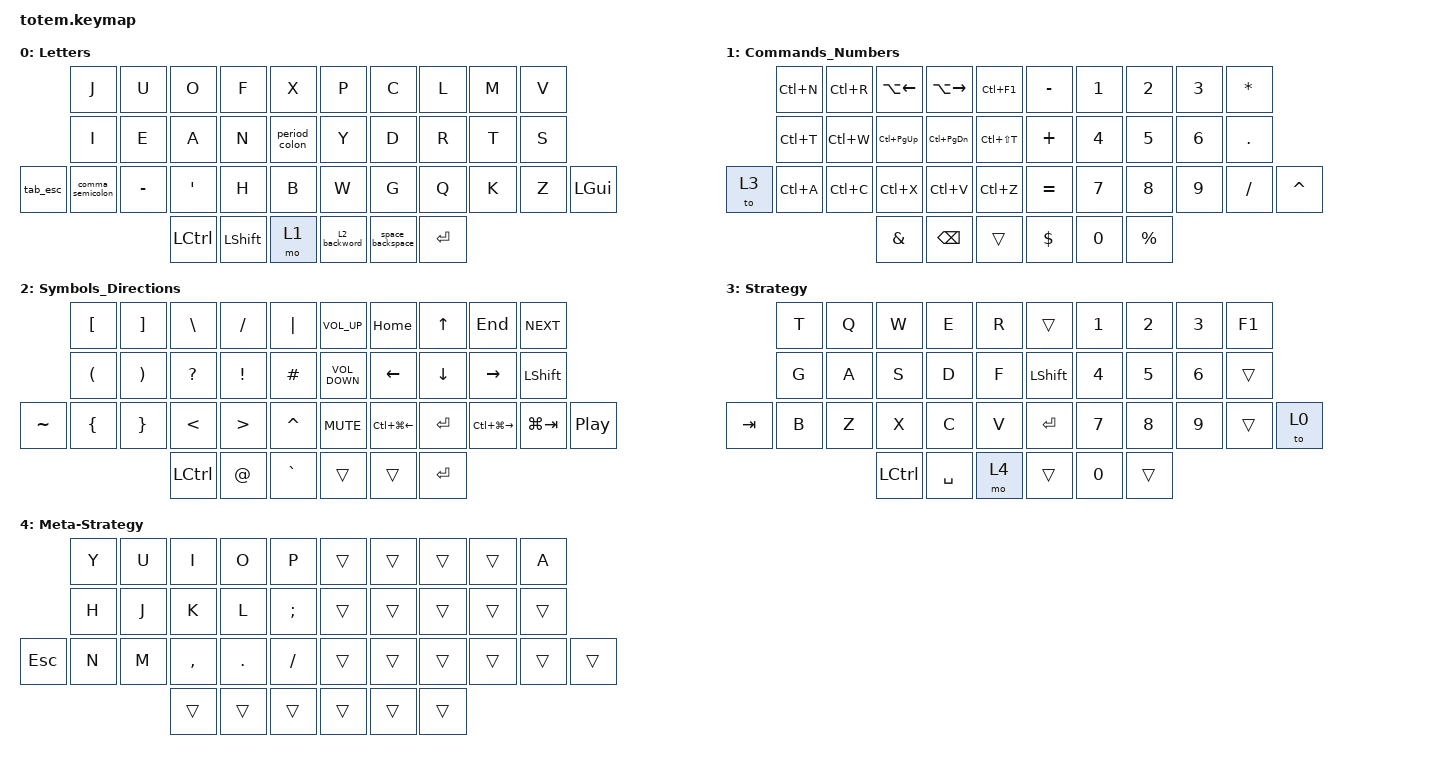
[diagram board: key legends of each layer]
//
//                                                        ▀▀▀▀▀     ▀▀▀▀▀          ▀▀█▀▀
//                                                        ▄▀▀▀▄  ▄  ▄▀▀▀▄  ▄  ▄▀▀▀▄  █  ▄▀▀▀▄
//                                                        █   █  █  █   █  █  █   █  █  █   █
//                                                         ▀▀▀   █   ▀▀▀   █   ▀▀▀   ▀   ▀▀▀
//                                                               █      ▄▄▄█▄▄▄    █   █  
//                                                               ▀      █  █  █     █▄█
//                                                             ▀▀▀▀▀    █  █  █      ▀
//                                                                      ▀  ▀  ▀
//
// ▄▄▄▄▄▄▄▄▄▄▄▄▄▄▄▄▄▄▄▄▄▄▄▄▄▄▄▄▄▄▄▄▄▄▄▄▄▄▄▄▄▄▄▄▄▄▄▄▄▄▄▄▄▄▄▄▄▄▄▄▄▄▄▄▄▄▄▄▄▄▄▄▄▄▄▄▄▄▄▄▄▄▄▄▄▄▄▄▄▄▄▄▄▄▄▄▄▄▄▄▄▄▄▄▄▄▄▄▄▄▄▄▄▄▄▄▄▄▄▄▄▄▄▄▄▄▄▄▄▄▄▄▄▄▄▄▄▄▄▄▄▄▄▄▄▄▄▄▄

#include <behaviors.dtsi>
#include <dt-bindings/zmk/keys.h>

#define Base        0
#define Nav         1
#define Sym         2
#define Fun         3
#define Game        4
#define Gameplus    5

/ {
    combos { compatible = "zmk,combos"; };

    behaviors {
        period_colon: period_colon {
            compatible = "zmk,behavior-mod-morph";
            label = "PERIOD_COLON";
            #binding-cells = <0>;
            bindings = <&kp PERIOD>, <&kp COLON>;

            mods = <(MOD_LSFT|MOD_RSFT)>;
        };

        tab_esc: tab_esc {
            compatible = "zmk,behavior-mod-morph";
            label = "TAB_ESC";
            bindings = <&kp TAB>, <&kp ESCAPE>;

            #binding-cells = <0>;
            mods = <(MOD_LSFT|MOD_RSFT)>;
        };

        space_backspace: space_backspace {
            compatible = "zmk,behavior-mod-morph";
            label = "SPACE_BACKSPACE";
            bindings = <&kp SPACE>, <&kp BACKSPACE>;

            #binding-cells = <0>;
            mods = <(MOD_LSFT|MOD_RSFT)>;
        };

        comma_semicolon: comma_semicolon {
            compatible = "zmk,behavior-mod-morph";
            label = "COMMA_SEMICOLON";
            bindings = <&kp COMMA>, <&kp SEMICOLON>;

            #binding-cells = <0>;
            mods = <(MOD_LSFT|MOD_RSFT)>;
        };

        L2_backword: L2_backword {
            compatible = "zmk,behavior-mod-morph";
            label = "L2_BACKWORD";
            bindings = <&mo 2>, <&kp LC(BACKSPACE)>;

            #binding-cells = <0>;
            mods = <(MOD_LSFT|MOD_RSFT)>;
        };
    };

    keymap {
        compatible = "zmk,keymap";

        Letters {
            bindings = <
          &kp J             &kp U      &kp O      &kp F           &kp X            &kp P         &kp C             &kp L    &kp M  &kp V
          &kp I             &kp E      &kp A      &kp N           &period_colon    &kp Y         &kp D             &kp R    &kp T  &kp S
&tab_esc  &comma_semicolon  &kp MINUS  &kp SQT    &kp H           &kp B            &kp W         &kp G             &kp Q    &kp K  &kp Z  &kp LGUI
                                       &kp LCTRL  &kp LEFT_SHIFT  &mo 1            &L2_backword  &space_backspace  &kp RET
            >;
        };

        Commands_Numbers {
            bindings = <
       &kp LC(N)  &kp LC(R)  &kp LA(LEFT)   &kp LA(RIGHT)  &kp LC(F1)       &kp MINUS   &kp N1        &kp N2       &kp N3  &kp ASTERISK
       &kp LC(T)  &kp LC(W)  &kp LC(PG_UP)  &kp LC(PG_DN)  &kp LC(LS(T))    &kp PLUS    &kp N4        &kp N5       &kp N6  &kp DOT
&to 3  &kp LC(A)  &kp LC(C)  &kp LC(X)      &kp LC(V)      &kp LC(Z)        &kp EQUAL   &kp N7        &kp N8       &kp N9  &kp FSLH      &kp CARET
                             &kp AMPERSAND  &kp BACKSPACE  &trans           &kp DOLLAR  &kp NUMBER_0  &kp PERCENT
            >;
        };

        Symbols_Directions {
            bindings = <
           &kp LBKT              &kp RBKT               &kp BSLH          &kp FSLH          &kp PIPE     &kp C_VOLUME_UP    &kp HOME          &kp UP     &kp END            &kp C_NEXT
           &kp LEFT_PARENTHESIS  &kp RIGHT_PARENTHESIS  &kp QUESTION      &kp EXCLAMATION   &kp POUND    &kp C_VOLUME_DOWN  &kp LEFT          &kp DOWN   &kp RIGHT          &kp LEFT_SHIFT
&kp TILDE  &kp LEFT_BRACE        &kp RIGHT_BRACE        &kp LESS_THAN     &kp GREATER_THAN  &kp CARET    &kp C_MUTE         &kp LC(LG(LEFT))  &kp ENTER  &kp LC(LG(RIGHT))  &kp LG(TAB)     &kp C_PLAY_PAUSE
                                                        &kp LEFT_CONTROL  &kp AT            &kp GRAVE    &trans             &trans            &kp ENTER
            >;
        };

        Strategy {
            bindings = <
         &kp T  &kp Q  &kp W             &kp E      &kp R    &trans          &kp N1  &kp N2  &kp N3  &kp F1
         &kp G  &kp A  &kp S             &kp D      &kp F    &kp LEFT_SHIFT  &kp N4  &kp N5  &kp N6  &trans
&kp TAB  &kp B  &kp Z  &kp X             &kp C      &kp V    &kp ENTER       &kp N7  &kp N8  &kp N9  &trans  &to 0
                       &kp LEFT_CONTROL  &kp SPACE  &mo 4    &trans          &kp N0  &trans
            >;
        };

        Meta-Strategy {
            bindings = <
         &kp Y  &kp U  &kp I      &kp O       &kp P            &trans  &trans  &trans  &trans  &kp A
         &kp H  &kp J  &kp K      &kp L       &kp SEMICOLON    &trans  &trans  &trans  &trans  &trans
&kp ESC  &kp N  &kp M  &kp COMMA  &kp PERIOD  &kp SLASH        &trans  &trans  &trans  &trans  &trans  &trans
                       &trans     &trans      &trans           &trans  &trans  &trans
            >;
        };
    };
};
